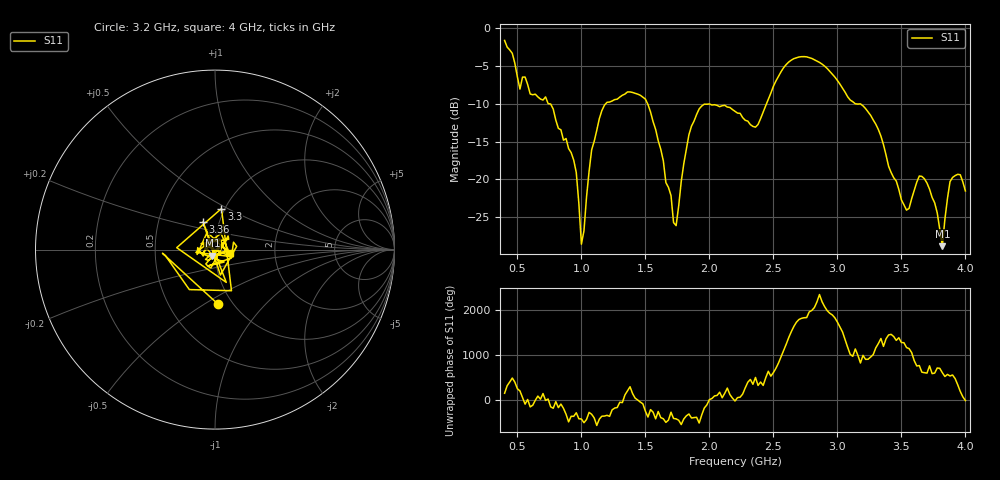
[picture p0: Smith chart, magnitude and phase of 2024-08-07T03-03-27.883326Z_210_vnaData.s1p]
!Created with skrf (http://scikit-rf.org).
# Hz S RI R 50.0
!freq ReS11 ImS11
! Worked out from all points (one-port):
!   181 points, 400 MHz to 4 GHz, reference 50 ohm
!   lowest |S11| = -28.8 dB at 3.82 GHz (marker M1), VSWR 1.08, Z = 48.4 - j3.22 ohm
!   |S11| at or under -10 dB: 742.6 MHz to 1.19 GHz (447.9 MHz wide, 46.3 % of centre); 1.517 GHz to 2.446 GHz (929.5 MHz wide, 46.9 % of centre); 3.139 GHz to end of sweep
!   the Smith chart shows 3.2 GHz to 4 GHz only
!   S11 on the Smith chart (normalised r, x): 3.2 GHz: 0.86, -0.58; 3.3 GHz: 0.96, +0.47; 3.36 GHz: 0.83, +0.27; 4 GHz: 1.18, -0.05
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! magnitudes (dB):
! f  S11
! 400 MHz  -1.7
! 520 MHz  -8.1
! 720 MHz  -9.1
! 860 MHz  -14.8
! 960 MHz  -19.1
! 1 GHz  -28.5
! 1.08 GHz  -16.1
! 1.14 GHz  -12.0
! 1.3 GHz  -9.1
! 1.5 GHz  -9.4
! 1.62 GHz  -16.0
! 1.72 GHz  -25.7
! 1.76 GHz  -23.5
! 1.84 GHz  -14.1
! 1.92 GHz  -10.7
! 2.2 GHz  -11.0
! 2.36 GHz  -13.1
! 2.66 GHz  -4.1
! 2.88 GHz  -4.8
! 3.1 GHz  -9.5
! 3.2 GHz  -10.3
! 3.3 GHz  -12.7
! 3.36 GHz  -15.4
! 3.56 GHz  -23.8
! 3.68 GHz  -19.9
! 3.82 GHz  -28.8
! 3.88 GHz  -20.3
! 4 GHz  -21.5
